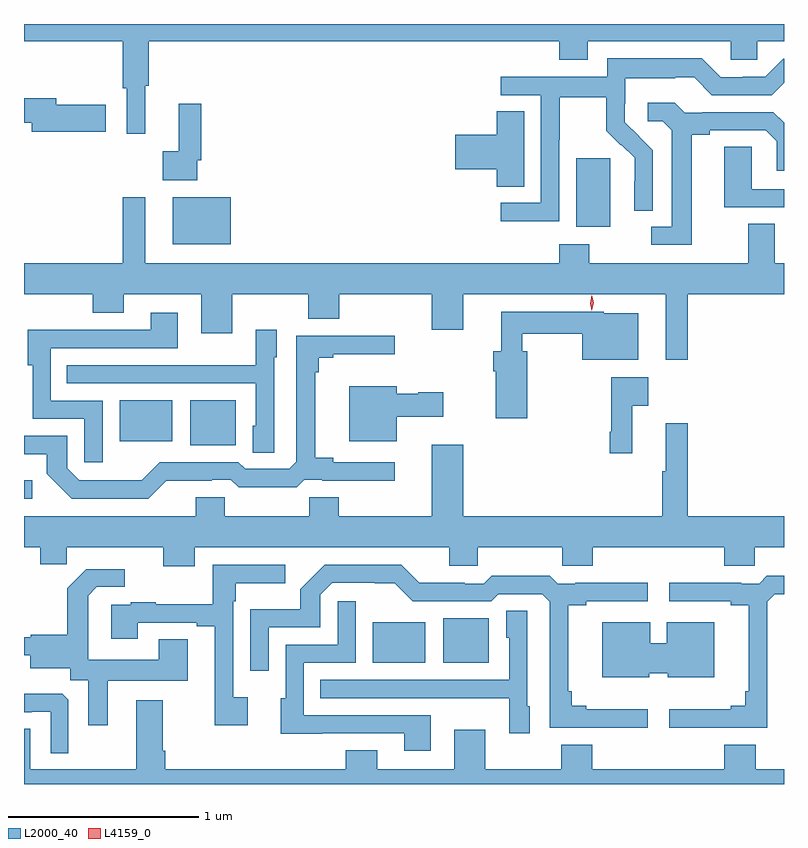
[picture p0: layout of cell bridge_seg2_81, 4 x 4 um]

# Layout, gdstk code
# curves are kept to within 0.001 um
import gdstk
lib = gdstk.Library(unit=1e-6, precision=1e-09)
def R(c, l, rs):  # rectangles x0, y0, x1, y1
    for r in rs: c.add(gdstk.rectangle(r[:2], r[2:], *l))
def P(c, l, *ps):  # polygons
    for p in ps: c.add(gdstk.Polygon(p, *l))
L2000_40 = (2000, 40)
L4159_0 = (4159, 0)

bridge_seg2_81 = lib.new_cell('bridge_seg2_81')
R(bridge_seg2_81, L2000_40, [(140.72,652.355,140.998,652.57), (141.092,652.355,141.331,652.591), (138.885,653.22,138.928,653.317), (139.76,653.501,139.999,653.737), (139.388,653.522,139.666,653.737), (139.667,654.56,139.972,654.805), (141.791,654.65,141.97,655.011)])
P(bridge_seg2_81, L2000_40, [(141.701,655.529),(141.853,655.529),(141.853,655.628),(142.605,655.628),(142.605,655.53),(142.743,655.53),(142.743,655.628),(142.885,655.628),(142.885,655.718),(138.885,655.718),(138.885,655.628),(139.405,655.628),(139.405,655.381),(139.425,655.381),(139.425,655.14),(139.523,655.14),(139.523,655.392),(139.541,655.392),(139.541,655.628),(141.701,655.628)],
  [(141.702,655.108),(141.705,655.108),(141.705,655.332),(141.949,655.332),(141.949,655.157),(142.026,655.08),(142.029,655.083),(142.1,655.013),(142.1,654.89),(142.098,654.89),(142.098,654.736),(142.194,654.736),(142.194,655.054),(142.048,655.202),(142.048,655.299),(142.05,655.299),(142.05,655.433),(142.313,655.433),(142.313,655.437),(142.413,655.437),(142.506,655.344),(142.821,655.344),(142.885,655.408),(142.885,655.536),(142.881,655.536),(142.785,655.44),(142.667,655.44),(142.667,655.437),(142.551,655.437),(142.451,655.537),(141.954,655.537),(141.954,655.44),(141.393,655.44),(141.393,655.344),(141.606,655.344),(141.606,654.777),(141.393,654.777),(141.393,654.679),(141.702,654.679)],
  [(139.315,655.293),(139.054,655.293),(139.054,655.327),(138.885,655.327),(138.885,655.198),(138.926,655.198),(138.926,655.151),(139.315,655.151)],
  [(142.399,655.136),(142.495,655.136),(142.495,655.158),(142.79,655.158),(142.847,655.101),(142.847,654.945),(142.885,654.945),(142.885,655.197),(142.828,655.254),(142.456,655.254),(142.456,655.251),(142.362,655.251),(142.31,655.303),(142.167,655.303),(142.167,655.206),(142.248,655.206),(142.295,655.159),(142.295,654.651),(142.185,654.651),(142.185,654.555),(142.399,654.555)],
  [(139.797,655),(139.817,655),(139.817,655.297),(139.7,655.297),(139.7,655.049),(139.614,655.049),(139.614,654.896),(139.797,654.896)],
  [(141.517,655.259),(141.374,655.259),(141.374,655.136),(141.156,655.136),(141.156,654.953),(141.374,654.953),(141.374,654.862),(141.517,654.862)],
  [(142.885,654.849),(142.716,654.849),(142.716,655.073),(142.571,655.073),(142.571,654.753),(142.885,654.753)],
  [(141.861,654.559),(141.701,654.559),(141.701,654.46),(139.522,654.46),(139.522,654.805),(139.405,654.805),(139.405,654.46),(138.885,654.46),(138.885,654.296),(139.247,654.296),(139.247,654.197),(139.411,654.197),(139.411,654.296),(139.817,654.296),(139.817,654.09),(139.981,654.09),(139.981,654.296),(140.381,654.296),(140.381,654.168),(140.545,654.168),(140.545,654.296),(141.032,654.296),(141.032,654.108),(141.196,654.108),(141.196,654.296),(142.262,654.296),(142.262,653.952),(142.379,653.952),(142.379,654.296),(142.885,654.296),(142.885,654.46),(142.837,654.46),(142.837,654.668),(142.697,654.668),(142.697,654.46),(141.861,654.46)],
  [(141.534,653.995),(141.508,653.995),(141.508,654.088),(141.824,654.088),(141.824,653.951),(142.117,653.951),(142.117,654.196),(141.936,654.196),(141.936,654.204),(141.398,654.204),(141.398,653.995),(141.356,653.995),(141.356,653.891),(141.368,653.891),(141.368,653.643),(141.534,653.643)],
  [(139.299,653.736),(139.026,653.736),(139.026,654.012),(139.693,654.012),(139.693,654.199),(139.553,654.199),(139.553,654.108),(139.123,654.108),(139.123,654.11),(138.905,654.11),(138.905,653.922),(138.93,653.922),(138.93,653.64),(139.203,653.64),(139.203,653.412),(139.299,653.412)],
  [(140.202,653.964),(140.215,653.964),(140.215,654.109),(140.106,654.109),(140.106,653.923),(139.789,653.923),(139.789,653.922),(139.111,653.922),(139.111,653.826),(140.106,653.826),(140.106,653.604),(140.09,653.604),(140.09,653.461),(140.202,653.461)],
  [(139.634,653.315),(139.874,653.315),(139.874,653.319),(139.974,653.319),(140.014,653.28),(140.321,653.28),(140.361,653.319),(140.455,653.319),(140.455,653.315),(140.836,653.315),(140.836,653.412),(140.512,653.412),(140.512,653.435),(140.417,653.435),(140.417,653.885),(140.435,653.885),(140.435,653.962),(140.512,653.962),(140.512,653.981),(140.836,653.981),(140.836,654.078),(140.319,654.078),(140.319,653.415),(140.28,653.376),(140.049,653.376),(140.013,653.412),(139.599,653.412),(139.505,653.318),(139.4,653.318),(139.4,653.316),(139.176,653.316),(139.113,653.379),(139.113,653.55),(138.885,653.55),(138.885,653.453),(139.006,653.453),(139.006,653.351),(139.136,653.22),(139.539,653.22)],
  [(142.085,653.708),(142.171,653.708),(142.171,653.86),(141.975,653.86),(141.975,653.572),(141.967,653.572),(141.967,653.46),(142.085,653.46)],
  [(140.848,653.651),(141.091,653.651),(141.091,653.781),(140.961,653.781),(140.961,653.773),(140.848,653.773),(140.848,653.812),(140.597,653.812),(140.597,653.522),(140.848,653.522)],
  [(139.783,652.964),(141.122,652.964),(141.122,652.866),(141.273,652.866),(141.273,652.964),(141.718,652.964),(141.718,652.866),(141.878,652.866),(141.878,652.964),(142.571,652.964),(142.571,652.866),(142.731,652.866),(142.731,652.964),(142.885,652.964),(142.885,653.128),(142.379,653.128),(142.379,653.617),(142.262,653.617),(142.262,653.364),(142.243,653.364),(142.243,653.128),(141.196,653.128),(141.196,653.503),(141.032,653.503),(141.032,653.128),(140.541,653.128),(140.541,653.226),(140.386,653.226),(140.386,653.128),(139.941,653.128),(139.941,653.226),(139.79,653.226),(139.79,653.128),(138.885,653.128),(138.885,652.964),(138.971,652.964),(138.971,652.874),(139.109,652.874),(139.109,652.964),(139.619,652.964),(139.619,652.865),(139.783,652.865)],
  [(142.168,652.111),(141.844,652.111),(141.844,652.13),(141.767,652.13),(141.767,652.207),(141.749,652.207),(141.749,652.658),(141.844,652.658),(141.844,652.68),(142.168,652.68),(142.168,652.778),(141.787,652.778),(141.787,652.773),(141.693,652.773),(141.653,652.813),(141.346,652.813),(141.306,652.773),(141.206,652.773),(141.206,652.778),(140.966,652.778),(140.871,652.872),(140.468,652.872),(140.338,652.742),(140.338,652.639),(140.076,652.639),(140.076,652.314),(140.172,652.314),(140.172,652.542),(140.445,652.542),(140.445,652.713),(140.508,652.776),(140.837,652.775),(140.931,652.68),(141.345,652.68),(141.381,652.716),(141.612,652.716),(141.651,652.677),(141.651,652.014),(142.168,652.014)],
  [(140.062,652.174),(139.986,652.174),(139.986,652.679),(139.999,652.679),(139.999,652.775),(140.26,652.775),(140.26,652.872),(139.878,652.872),(139.878,652.664),(139.579,652.664),(139.579,652.675),(139.447,652.675),(139.447,652.662),(139.343,652.662),(139.343,652.482),(139.483,652.482),(139.483,652.566),(139.793,652.566),(139.793,652.548),(139.889,652.548),(139.889,652.026),(140.062,652.026)],
  [(139.327,652.262),(139.747,652.262),(139.747,652.481),(139.595,652.481),(139.595,652.372),(139.224,652.372),(139.224,652.613),(139.222,652.613),(139.222,652.708),(139.269,652.755),(139.414,652.755),(139.414,652.849),(139.213,652.849),(139.113,652.749),(139.113,652.504),(138.921,652.504),(138.921,652.491),(138.885,652.491),(138.885,652.395),(138.917,652.395),(138.917,652.328),(139.128,652.328),(139.128,652.264),(139.223,652.264),(139.223,652.026),(139.327,652.026)],
  [(142.797,652.677),(142.836,652.716),(142.885,652.716),(142.885,652.813),(142.795,652.813),(142.755,652.773),(142.661,652.773),(142.661,652.778),(142.281,652.778),(142.281,652.68),(142.604,652.68),(142.604,652.658),(142.7,652.658),(142.7,652.207),(142.681,652.207),(142.681,652.13),(142.604,652.13),(142.604,652.111),(142.281,652.111),(142.281,652.014),(142.797,652.014)],
  [(141.025,652.08),(140.358,652.08),(140.358,652.356),(140.631,652.356),(140.631,652.681),(140.535,652.681),(140.535,652.452),(140.262,652.452),(140.262,652.17),(140.237,652.17),(140.237,651.983),(140.455,651.983),(140.455,651.984),(140.885,651.984),(140.885,651.894),(141.025,651.894)],
  [(141.547,652.128),(141.534,652.128),(141.534,652.631),(141.422,652.631),(141.422,652.488),(141.438,652.488),(141.438,652.266),(140.443,652.266),(140.443,652.17),(141.121,652.17),(141.121,652.169),(141.438,652.169),(141.438,651.984),(141.547,651.984)],
  [(142.176,652.301),(142.272,652.301),(142.272,652.28),(142.519,652.28),(142.519,652.57),(142.268,652.57),(142.268,652.459),(142.18,652.459),(142.18,652.57),(141.929,652.57),(141.929,652.28),(142.176,652.28)],
  [(139.119,652.161),(139.087,652.193),(138.885,652.193),(138.885,652.095),(138.926,652.095),(138.926,652.098),(139.026,652.098),(139.026,651.881),(139.119,651.881)],
  [(142.885,651.796),(142.735,651.796),(142.735,651.925),(142.571,651.925),(142.571,651.796),(141.877,651.796),(141.877,651.925),(141.713,651.925),(141.713,651.796),(141.313,651.796),(141.313,652.003),(141.149,652.003),(141.149,651.796),(140.743,651.796),(140.743,651.895),(140.579,651.895),(140.579,651.796),(139.628,651.796),(139.628,651.892),(139.615,651.892),(139.615,652.159),(139.475,652.159),(139.475,651.796),(138.918,651.796),(138.918,652.01),(138.885,652.01),(138.885,651.718),(142.885,651.718)])
P(bridge_seg2_81, L4159_0, [(141.874,654.208),(141.874,654.209),(141.864,654.249),(141.873,654.291),(141.873,654.291),(141.873,654.291),(141.884,654.25),(141.874,654.209)])

lib.write_gds('bridge_seg2_81.gds')
